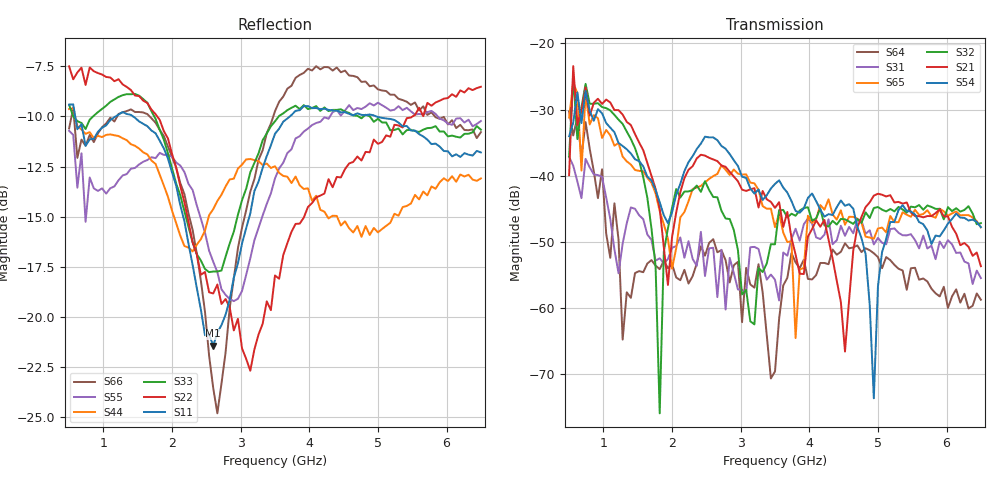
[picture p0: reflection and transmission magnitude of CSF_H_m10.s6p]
!Keysight Technologies,M9804A,MY58100912,A.14.10.03
!Date: Thursday, April 27, 2023 10:28:33
!Correction: S11(C  6-Port  )
!S12(C  6-Port  )
!S13(C  6-Port  )
!S14(C  6-Port  )
!S15(C  6-Port  )
!S16(C  6-Port  )
!S21(C  6-Port  )
!S22(C  6-Port  )
!S23(C  6-Port  )
!S24(C  6-Port  )
!S25(C  6-Port  )
!S26(C  6-Port  )
!S31(C  6-Port  )
!S32(C  6-Port  )
!S33(C  6-Port  )
!S34(C  6-Port  )
!S35(C  6-Port  )
!S36(C  6-Port  )
!S41(C  6-Port  )
!S42(C  6-Port  )
!S43(C  6-Port  )
!S44(C  6-Port  )
!S45(C  6-Port  )
!S46(C  6-Port  )
!S51(C  6-Port  )
!S52(C  6-Port  )
!S53(C  6-Port  )
!S54(C  6-Port  )
!S55(C  6-Port  )
!S56(C  6-Port  )
!S61(C  6-Port  )
!S62(C  6-Port  )
!S63(C  6-Port  )
!S64(C  6-Port  )
!S65(C  6-Port  )
!S66(C  6-Port  )
!S6P File: Measurement: :
# Hz S  RI  R 50
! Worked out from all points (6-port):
!   101 points, 500 MHz to 6.5 GHz, reference 50 ohm
!   strongest paths, dB at 500 MHz, 2 GHz, 3.5 GHz, 5 GHz, 6.5 GHz:
!     S54: -34.0, -45.5, -41.2, -56.8, -47.8
!     S21: -39.9, -49.3, -44.9, -42.7, -53.7
!     S32: -37.1, -44.9, -50.4, -44.7, -47.2
!     S65: -31.2, -54.1, -47.8, -48.0, -47.8
!     S31: -37.1, -50.9, -55.7, -49.4, -55.5
!     S64: -30.3, -53.4, -69.6, -52.3, -58.8
!   lowest |S11| = -21.4 dB at 2.6 GHz (marker M1), VSWR 1.19, Z = 42.5 + j2.16 ohm
!   |S11| at or under -10 dB: 589.2 MHz to 1.177 GHz (587.3 MHz wide, 66.5 % of centre); 1.433 GHz to 3.715 GHz (2.283 GHz wide, 88.7 % of centre); 4.978 GHz to end of sweep
